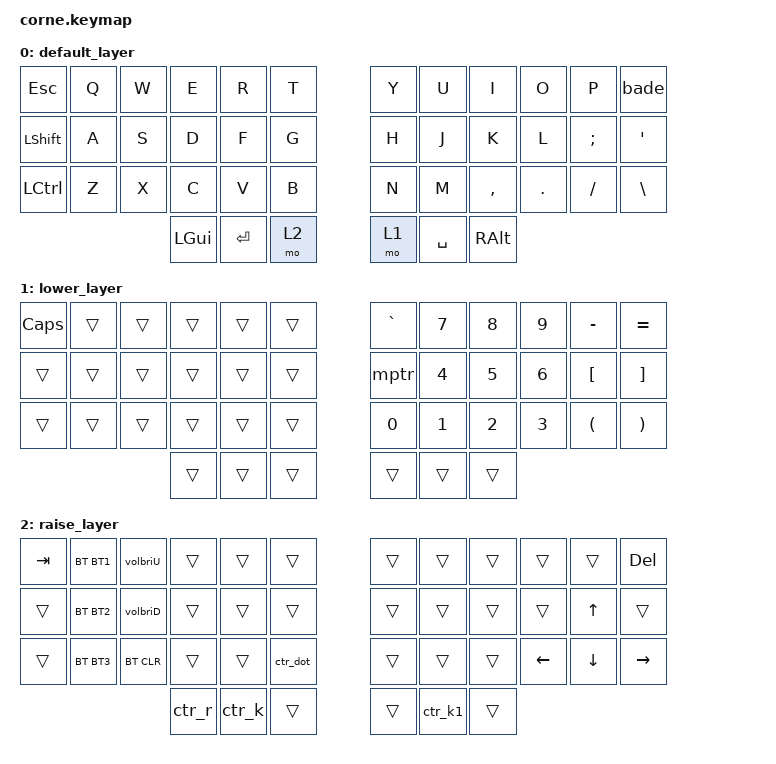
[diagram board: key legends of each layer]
/*
 * Copyright (c) 2020 The ZMK Contributors
 *
 * SPDX-License-Identifier: MIT
 */

#include <behaviors.dtsi>
#include <dt-bindings/zmk/keys.h>
#include <dt-bindings/zmk/bt.h>

#define MULT KP_MULTIPLY
#define BTC BT_CLR
#define BT1 BT_SEL 0
#define BT2 BT_SEL 1
#define BT3 BT_SEL 2
#define BT4 BT_SEL 3
#define BT5 BT_SEL 4

/ {
        macros {
        mptr: mptr {
            label = "ZM_ptr";
            compatible = "zmk,behavior-macro";
            #binding-cells = <0>;
            bindings
                = <&macro_tap &kp MINUS &kp GREATER_THAN>
                ;
            };

        ctr_k: ctr_k {
            label = "ZM_ctr_k";
            compatible = "zmk,behavior-macro";
            #binding-cells = <0>;
            bindings
                = <&macro_press &kp LGUI>
                , <&macro_press &kp RALT>
                , <&macro_tap &kp L>
                , <&macro_release &kp RALT>
                , <&macro_release &kp LGUI>
                ;
            };

        ctr_k1: ctr_k1 {
            label = "ZM_ctr_k1";
            compatible = "zmk,behavior-macro";
            #binding-cells = <0>;
            bindings
                = <&macro_press &kp LGUI>
                , <&macro_tap &kp K>
                , <&macro_tap &kp N1>
                , <&macro_release &kp LGUI>
                ;
            };

        ctr_dot: ctr_dot {
            label = "ZM_ctr_dot";
            compatible = "zmk,behavior-macro";
            #binding-cells = <0>;
            bindings
                = <&macro_press &kp LGUI>
                , <&macro_tap &kp DOT>
                , <&macro_release &kp LGUI>
                ;
            };

        ctr_r: ctr_r {
            label = "ZM_ctr_r";
            compatible = "zmk,behavior-macro";
            #binding-cells = <0>;
            bindings
                = <&macro_press &kp LCTRL>
                , <&macro_tap &kp R>
                , <&macro_release &kp LCTRL>
                ;
            };
        };

        behaviors {
        volbriU: vol_brightU {
            compatible = "zmk,behavior-mod-morph";
            label = "VOL_BRIGHTU";
            #binding-cells = <0>;
            bindings = <&kp C_VOLUME_UP>, <&kp C_BRI_UP>;
            mods = <(MOD_LSFT)>;
                };
        volbriD: vol_brightD {
            compatible = "zmk,behavior-mod-morph";
            label = "VOL_BRIGHTD";
            #binding-cells = <0>;
            bindings = <&kp C_VOLUME_DOWN>, <&kp C_BRI_DN>;
            mods = <(MOD_LSFT)>;
                };
        bade: back_dell {
            compatible = "zmk,behavior-mod-morph";
            label = "BACK_DELL";
            #binding-cells = <0>;
            bindings = <&kp BSPC>, <&kp DEL>;
            mods = <(MOD_LSFT)>;
                };
        };

        keymap {
                compatible = "zmk,keymap";

                default_layer {
// -----------------------------------------------------------------------------------------
// |  ESC |  Q  |  W  |  E  |  R  |  T  |   |  Y  |  U   |  I  |  O  |  P  | BKSP |
// [ SHFT ]  A  |  S  |  D  |  F  |  G  |   |  H  |  J   |  K  |  L  | ;:  | '"   |
// [ CTR  ]  Z  |  X  |  C  |  V  |  B  |   |  N  |  M   | ,<  | .>  | /?  | |\   |
//                    [ COMM] ENT | RAIS |   | LWR | SPC  [ OPT ]
                        bindings = <
   &kp ESC   &kp Q &kp W &kp E &kp R &kp T   &kp Y  &kp U  &kp I     &kp O   &kp P    &bade
   &kp LSHFT &kp A &kp S &kp D &kp F &kp G   &kp H  &kp J  &kp K     &kp L   &kp SEMI &kp SQT
   &kp LCTRL &kp Z &kp X &kp C &kp V &kp B   &kp N  &kp M  &kp COMMA &kp DOT &kp FSLH &kp BSLH
                   &kp LGUI  &kp RET  &mo 2  &mo 1  &kp SPACE  &kp RALT
                        >;
                };
                lower_layer {
// -----------------------------------------------------------------------------------------
// | CAPS |     |     |     |     |     |   | `~  |  7  |  8  |  9  | -_ | =+ |
// [      ]     |     |     |     |     |   | ->  |  4  |  5  |  6  | [{ | ]} |
// [      ]     |     |     |     |     |   |  0  |  1  |  2  |  3  |  ( |  ) |
//                    [     ]     |     |   |     |     |     |
                        bindings = <
   &kp CAPS  &trans  &trans  &trans  &trans  &trans     &kp GRAVE  &kp N7  &kp N8  &kp N9  &kp MINUS  &kp EQUAL
   &trans    &trans  &trans  &trans  &trans  &trans     &mptr      &kp N4  &kp N5  &kp N6  &kp LBKT   &kp RBKT
   &trans    &trans  &trans  &trans  &trans  &trans     &kp N0     &kp N1  &kp N2  &kp N3  &kp LPAR   &kp RPAR
                             &trans  &trans  &trans     &trans     &trans  &trans
                        >;
                };

                raise_layer {
// -----------------------------------------------------------------------------------------
// |  TAB | BT1 | VOL+|     |     |     |   |     |     |     |     |     | DEL |
// [      ] BT2 | VOL-|     |     |     |   |     |     |     |     |  UP |     |
// [      ] BT3 | BTC |     |     |CTR. |   |     |     |     | LFT | DWN | RGT |
//                    [ CTR ] CTK |     |   |     |     [     ]
                        bindings = <
   &kp TAB  &bt BT1  &volbriU  &trans  &trans  &trans     &trans  &trans  &trans  &trans   &trans   &kp DEL
   &trans   &bt BT2  &volbriD  &trans  &trans  &trans     &trans  &trans  &trans  &trans   &kp UP   &trans
   &trans   &bt BT3  &bt BTC   &trans  &trans  &ctr_dot   &trans  &trans  &trans  &kp LEFT &kp DOWN &kp RIGHT
                    	       &ctr_r  &ctr_k  &trans     &trans  &ctr_k1 &trans
                        >;
                };
        };
};
